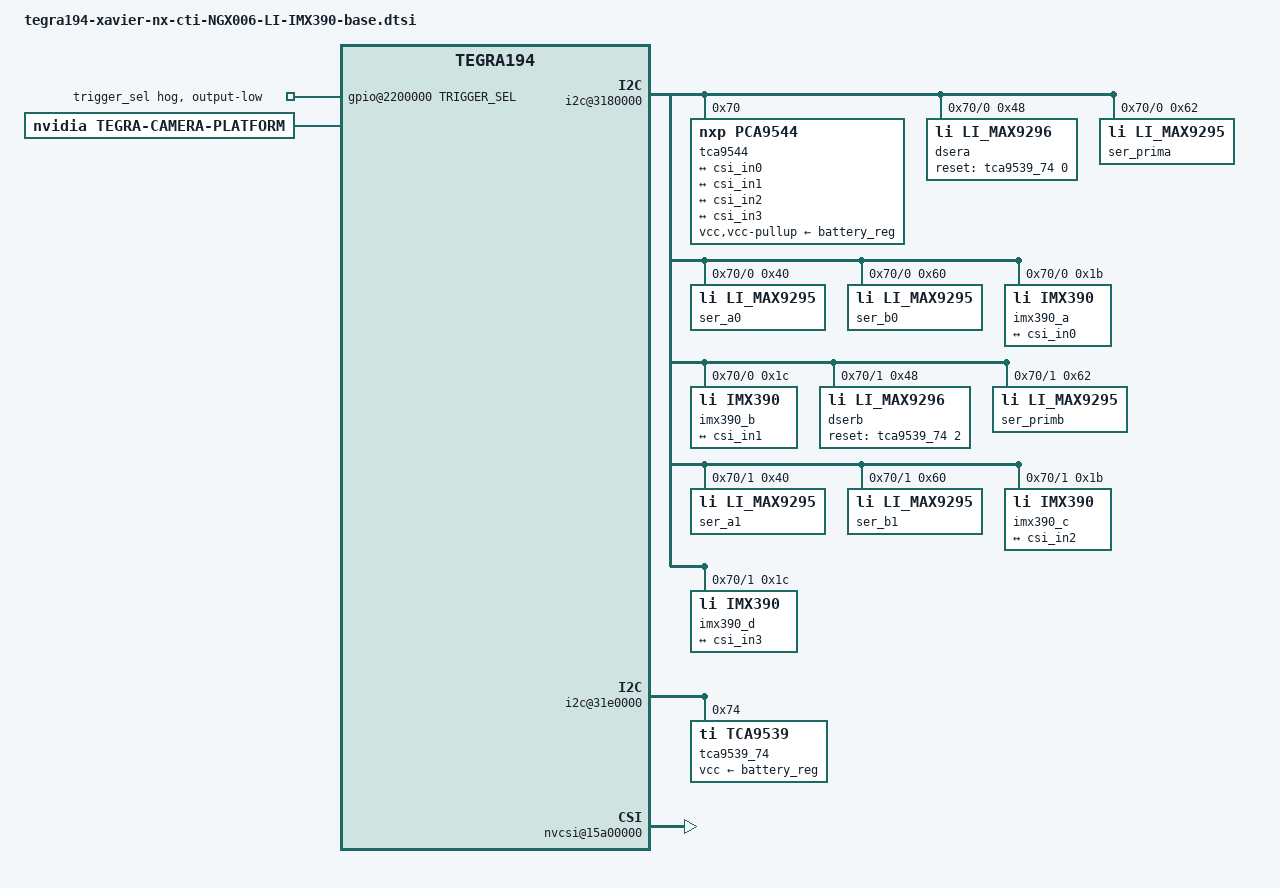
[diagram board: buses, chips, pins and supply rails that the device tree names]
/*
 * Copyright (c) 2023, Connect Tech Inc.  All rights reserved.
 *
 * This program is free software; you can redistribute it and/or modify it
 * under the terms and conditions of the GNU General Public License,
 * version 2, as published by the Free Software Foundation.
 *
 * This program is distributed in the hope it will be useful, but WITHOUT
 * ANY WARRANTY; without even the implied warranty of MERCHANTABILITY or
 * FITNESS FOR A PARTICULAR PURPOSE.  See the GNU General Public License for
 * more details.
 *
 * You should have received a copy of the GNU General Public License
 * along with this program.  If not, see <http://www.gnu.org/licenses/>.
 */

#include "dt-bindings/clock/tegra194-clock.h"

#define TRIGGER_SEL TEGRA194_MAIN_GPIO(R,0) //CAM0_RST
#define CAM_LANES 4
#define CAM_LANES_STRING "4" 
#define SERDES_PIX_CLK_HZ "480000000" 
//"590000000"

                                        
#define IMX390_MODE0 \
		mclk_khz = "24000"; \
		discontinuous_clk = "no"; \
		dpcm_enable = "false"; \
		cil_settletime = "0"; \
		dynamic_pixel_bit_depth = "12"; \
		csi_pixel_bit_depth = "12"; \
		mode_type = "bayer"; \
		pixel_phase = "rggb"; \
		active_w = "1920"; \
		active_h = "1080"; \
		readout_orientation = "0"; \
		line_length = "2200"; \
		inherent_gain = "1"; \
		pix_clk_hz = "74250000"; \
		serdes_pix_clk_hz = SERDES_PIX_CLK_HZ; \
		gain_factor = "10"; \
		min_gain_val = "0";  \
		max_gain_val = "300"; \
		step_gain_val = "3"; \
		default_gain = "0"; \
		min_hdr_ratio = "1"; \
		max_hdr_ratio = "1"; \
		framerate_factor = "1000000"; \
		min_framerate = "30000000"; \
		max_framerate = "30000000"; \
		step_framerate = "1"; \
		default_framerate = "30000000"; \
		exposure_factor = "1000000"; \
		min_exp_time = "118"; \
		max_exp_time = "33333"; \
		step_exp_time = "1"; \
		default_exp_time = "33333"; \
		embedded_metadata_height = "0"; \


//serdes_pix_clk_hz = "299000000"; //orig val

/ {

	gpio@2200000 {
		
		camera-control-output-low {
			status = "okay";
			gpio-hog;
			gpios = <TRIGGER_SEL 0>;
			output-low;
			label = "trigger_sel";
		};
	};

	

    i2c@3180000 {
        status = "okay";
        #address-cells = <1>;
        #size-cells = <0>;
        tca9544@70 {
            status = "okay";
            compatible = "nxp,pca9544";
            reg = <0x70>;
            #address-cells = <1>;
            #size-cells = <0>;
            vcc-supply = <&battery_reg>;
            vcc-pullup-supply = <&battery_reg>;
            vcc_lp = "vcc";
            skip_mux_detect = "yes";
            force_bus_start = <40>;
            i2c@0 {
                status = "okay";
                reg = <0>;
                i2c-mux,deselect-on-exit;
                #address-cells = <1>;
                #size-cells = <0>;

                dsera: li_max9296@48 {
                    compatible = "li,li_max9296";
                    reg = <0x48>;
                    csi-mode = "2x4";
                    max-src = <2>;
                    status = "okay";
                    reset-gpios = <&tca9539_74 0 GPIO_ACTIVE_HIGH>;
                    //reset-gpios
                };
                ser_prima: li_max9295_prim@62 {
                    compatible = "li,li_max9295";
                    reg = <0x62>;
                    is-prim-ser;
                    status = "okay";
                };
                ser_a0: li_max9295_a@40 {
                    compatible = "li,li_max9295";
                    reg = <0x40>;
                    nvidia,gmsl-dser-device = <&dsera>;
                    status = "okay";
                };
                
                ser_b0: li_max9295_b@60 {
                    compatible = "li,li_max9295";
                    reg = <0x60>;
                    nvidia,gmsl-dser-device = <&dsera>;
                    status = "okay";
                };

                imx390_a@1b {
                    def-addr = <0x21>;
                    clocks = <&bpmp_clks TEGRA194_CLK_EXTPERIPH1>,<&bpmp_clks TEGRA194_CLK_PLLP_OUT0>;
                    clock-names = "extperiph1", "pllp_grtba";
                    mclk = "extperiph1";
                    nvidia,gmsl-ser-device = <&ser_a0>;
                    nvidia,gmsl-dser-device = <&dsera>;
                    compatible = "li,imx390";
                    reg = <0x1b>;
                    reg_mux = <0>;

                    physical_w = "15.0";
                    physical_h = "12.5";
                    sensor_model = "imx390";
                    post_crop_frame_drop = "0";
                    use_decibel_gain = "true";
                    use_sensor_mode_id = "true";

                    status = "okay";
                    
                    mode0 {
                        IMX390_MODE0
                        tegra_sinterface = "serial_c";
                        num_lanes = "4";
                        //mode_lanes = <4>;
                        vc_id = "1";
                    };

                    ports {
                        #address-cells = <1>;
                        #size-cells = <0>;
                        port@0{
                            reg = <0>;
                            cam_out0: endpoint {
                                vc-id = <1>;
                                port-index = <2>;
                                bus-width = <CAM_LANES>;
                                remote-endpoint = <&csi_in0>;

                            };
                        };
                    };
                    gmsl-link {
                        src-csi-port = "b";
                        dst-csi-port = "a";
                        serdes-csi-link = "a";
                        csi-mode = "1x4";
                        st-vc = <0>;
                        vc-id = <1>;
                        num-lanes = <CAM_LANES>;
                        streams = "ued-u1","raw12";

                    };
                };

                imx390_b@1c {
                    def-addr = <0x21>;
                    clocks = <&bpmp_clks TEGRA194_CLK_EXTPERIPH1>,<&bpmp_clks TEGRA194_CLK_PLLP_OUT0>;
                    clock-names = "extperiph1", "pllp_grtba";
                    mclk = "extperiph1";
                    compatible = "li,imx390";
                    nvidia,gmsl-ser-device = <&ser_b0>;
                    nvidia,gmsl-dser-device = <&dsera>;
                    reg = <0x1c>;
                    reg_mux = <0>;

                    physical_w = "15.0";
                    physical_h = "12.5";
                    sensor_model = "imx390";
                    post_crop_frame_drop = "0";
                    use_decibel_gain = "true";
                    use_sensor_mode_id = "true";

                    status = "okay";
                    mode0 {
                        IMX390_MODE0
                        tegra_sinterface = "serial_c";
                        num_lanes = "4";
                        //mode_lanes = <4>;
                        vc_id = "0";
                    };
                    ports {
                        #address-cells = <1>;
                        #size-cells = <0>;
                        port@0{
                            reg = <0>;
                            cam_out1: endpoint {
                                vc-id = <0>;
                                port-index = <2>;
                                bus-width = <CAM_LANES>;
                                remote-endpoint = <&csi_in1>;

                            };
                        };
                    };
                    gmsl-link {
                        src-csi-port = "b";
                        dst-csi-port = "a";
                        serdes-csi-link = "b";
                        csi-mode = "1x4";
                        st-vc = <0>;
                        vc-id = <0>;
                        num-lanes = <CAM_LANES>;
                        streams = "ued-u1","raw12";

                    };
                };	     
            };

            i2c@1 {
                status = "okay";
                reg = <1>;
                i2c-mux,deselect-on-exit;
                #address-cells = <1>;
                #size-cells = <0>;
                dserb: li_max9296@48 {
                    compatible = "li,li_max9296";
                    reg = <0x48>;
                    csi-mode = "2x4";
                    max-src = <2>;
                    status = "okay";
                    reset-gpios = <&tca9539_74 2 GPIO_ACTIVE_HIGH>;
                };
                ser_primb: li_max9295_prim@62 {
                    compatible = "li,li_max9295";
                    reg = <0x62>;
                    is-prim-ser;
                    status = "okay";
                };
                ser_a1: li_max9295_a@40 {
                    compatible = "li,li_max9295";
                    reg = <0x40>;
                    nvidia,gmsl-dser-device = <&dserb>;
                    status = "okay";
                };
                
                ser_b1: li_max9295_b@60 {
                    compatible = "li,li_max9295";
                    reg = <0x60>;
                    nvidia,gmsl-dser-device = <&dserb>;
                    status = "okay";
                };

                imx390_c@1b {
                    def-addr = <0x21>;
                    clocks = <&bpmp_clks TEGRA194_CLK_EXTPERIPH1>,<&bpmp_clks TEGRA194_CLK_PLLP_OUT0>;
                    clock-names = "extperiph1", "pllp_grtba";
                    mclk = "extperiph1";
                    nvidia,gmsl-ser-device = <&ser_a1>;
                    nvidia,gmsl-dser-device = <&dserb>;
                    compatible = "li,imx390";
                    reg = <0x1b>;
                    reg_mux = <1>;

                    physical_w = "15.0";
                    physical_h = "12.5";
                    sensor_model = "imx390";
                    post_crop_frame_drop = "0";
                    use_decibel_gain = "true";
                    use_sensor_mode_id = "true";

                    status = "okay";
                    
                    mode0 {
                        IMX390_MODE0
                        tegra_sinterface = "serial_a";
                        num_lanes = "4";
                        //mode_lanes = <4>;
                        vc_id = "1";
                    };

                    ports {
                        #address-cells = <1>;
                        #size-cells = <0>;
                        port@0{
                            reg = <0>;
                            cam_out2: endpoint {
                                vc-id = <1>;
                                port-index = <0>;
                                bus-width = <CAM_LANES>;
                                remote-endpoint = <&csi_in2>;

                            };
                        };
                    };
                    gmsl-link {
                        src-csi-port = "b";
                        dst-csi-port = "a";
                        serdes-csi-link = "a";
                        csi-mode = "1x4";
                        st-vc = <0>;
                        vc-id = <1>;
                        num-lanes = <CAM_LANES>;
                        streams = "ued-u1","raw12";

                    };
                };

                imx390_d@1c {
                    def-addr = <0x21>;
                    clocks = <&bpmp_clks TEGRA194_CLK_EXTPERIPH1>,<&bpmp_clks TEGRA194_CLK_PLLP_OUT0>;
                    clock-names = "extperiph1", "pllp_grtba";
                    mclk = "extperiph1";
                    compatible = "li,imx390";
                    nvidia,gmsl-ser-device = <&ser_b1>;
                    nvidia,gmsl-dser-device = <&dserb>;
                    reg = <0x1c>;
                    reg_mux = <1>;

                    physical_w = "15.0";
                    physical_h = "12.5";
                    sensor_model = "imx390";
                    post_crop_frame_drop = "0";
                    use_decibel_gain = "true";
                    use_sensor_mode_id = "true";

                    status = "okay";
                    mode0 {
                        IMX390_MODE0
                        tegra_sinterface = "serial_a";
                        num_lanes = "4";
                        //mode_lanes = <4>;
                        vc_id = "0";
                    };
                    ports {
                        #address-cells = <1>;
                        #size-cells = <0>;
                        port@0{
                            reg = <0>;
                            cam_out3: endpoint {
                                vc-id = <0>;
                                port-index = <0>;
                                bus-width = <CAM_LANES>;
                                remote-endpoint = <&csi_in3>;

                            };
                        };
                    };
                    gmsl-link {
                        src-csi-port = "b";
                        dst-csi-port = "a";
                        serdes-csi-link = "b";
                        csi-mode = "1x4";
                        st-vc = <0>;
                        vc-id = <0>;
                        num-lanes = <CAM_LANES>;
                        streams = "ued-u1","raw12";

                    };
                };
            
            };
        };
    };

    i2c@31e0000 {
		status = "okay";
		#address-cells = <1>;
		#size-cells = <0>;
		tca9539_74: gpio@74{
			compatible = "ti,tca9539";
			gpio-controller;
			#gpio-cells = <2>;
			ngpios = <16>;
			reg = <0x74>;
			vcc-supply = <&battery_reg>;
			status = "okay";
			
			tca9539_74_outlow {
				status = "okay";
				gpio-hog;
				gpios = <0 0 1 0 2 0 3 0 4 0 5 0 6 0 7 0 8 0 9 0 10 0 11 0 12 0 13 0>;
				output-low;
				label = "RST_A","PWDN_A","RST_B","PWDN_B","RST_C","PWDN_C","RST_D","PWDN_D";
			};
			tca9539_74_outhigh {
				status = "disabled";
			};
			tca9539_74_input {
				status = "disabled";
			};
		};
	};
    tegra-capture-vi {
        status = "okay";
        num-channels = <4>;
        ports {
            #address-cells = <1>;
            #size-cells = <0>;
            status = "okay";
            port@0 {
                reg = <0>;
                status = "okay";
                vi_in0: endpoint {
                    vc-id = <1>;
                    port-index = <2>;
                    status = "okay";
                    bus-width = <CAM_LANES>;
                    remote-endpoint = <&csi_out0>;
                };
            };
            port@1 {
                status = "okay";
                reg = <1>;
                vi_in1: endpoint {
                    vc-id = <0>;
                    port-index = <2>;
                    status = "okay";
                    bus-width = <CAM_LANES>;
                    remote-endpoint = <&csi_out1>;
                };
            };
            port@2 {
                status = "okay";
                reg = <2>;
                vi_in2: endpoint {
                    vc-id = <1>;
                    port-index = <0>;
                    bus-width = <CAM_LANES>;
                    remote-endpoint = <&csi_out2>;
                    status = "okay";
                };
            };
            port@3{
                status = "okay";
                reg = <3>;
                vi_in3: endpoint {
                    vc-id = <0>;
                    port-index = <0>;
                    bus-width = <CAM_LANES>;
                    remote-endpoint = <&csi_out3>;
                    status = "okay";
                };
            };
	    
        };
    };

    host1x@13e00000 {
        nvcsi@15a00000 {
            num-channels = <4>;
            #address-cells = <1>;
            #size-cells = <0>;
            status = "okay";
            channel@0 {
                status = "okay";
                reg = <0>;
                ports {
                    #address-cells = <1>;
                    #size-cells = <0>;
                    port@0 {
                        status = "okay";
                        reg = <0>;
                        csi_in0: endpoint@0 {
                            status = "okay";
                            port-index = <2>;
                            vc-id = <1>;
                            bus-width = <CAM_LANES>;
                            remote-endpoint = <&cam_out0>;
                        };
                    };
                    port@1 {
                        status = "okay";
                        reg = <1>;
                        csi_out0: endpoint@1 {
                            status = "okay";
                            port-index = <2>;
                            vc-id = <0>;
                            bus-width = <CAM_LANES>;
                            remote-endpoint = <&vi_in0>;
                        };
                    };
                };
            };
            channel@1 {
                status = "okay";
                reg = <1>;
                ports {
                    #address-cells = <1>;
                    #size-cells = <0>;  
                    port@0 {
                        reg = <0>;
                        status = "okay";
                        csi_in1: endpoint@2 {
                            status = "okay";
                            port-index = <2>;
                            vc-id = <1>;
                            bus-width = <CAM_LANES>;
                            remote-endpoint = <&cam_out1>;
                        };
                    };
                    port@1 {
                        status = "okay";
                        reg = <1>;
                        csi_out1: endpoint@3 {
                            status = "okay";
                            port-index = <2>;
                            vc-id = <0>;
                            bus-width = <CAM_LANES>;
                            remote-endpoint = <&vi_in1>;
                        };
                    };
                };
            };
            channel@2 {
                status = "okay";
                reg = <2>;
                ports {
                    #address-cells = <1>;
                    #size-cells = <0>;
                    port@0 {
                        status = "okay";
                        reg = <0>;
                        csi_in2: endpoint@4 {
                            status = "okay";
                            port-index = <0>;
                            bus-width = <CAM_LANES>;
                            remote-endpoint = <&cam_out2>;
                        };
                    };
                    port@1 {
                        status = "okay";
                        reg = <1>;
                        csi_out2: endpoint@5 {
                            status = "okay";
                            port-index = <0>;
                            bus-width = <CAM_LANES>;
                            remote-endpoint = <&vi_in2>;
                        };
                    };
                };
            };
            channel@3 {
                status = "okay";
                reg = <3>;
                ports {
                    #address-cells = <1>;
                    #size-cells = <0>;
                    port@0 {
                        reg = <0>;
                        status = "okay";
                        csi_in3: endpoint@6 {
                            status = "okay";
                            port-index = <0>;
                            bus-width = <CAM_LANES>;
                            remote-endpoint = <&cam_out3>;
                        };
                    };
                    port@1 {
                        status = "okay";
                        reg = <1>;
                        csi_out3: endpoint@7 {
                            status = "okay";
                            port-index = <0>;
                            bus-width = <CAM_LANES>;
                            remote-endpoint = <&vi_in3>;
                        };
                    };
                };
            };
        };
    };


    tegra-camera-platform {
        num_csi_lanes = <8>;
        max_lane_speed = <1500000>;
        min_bits_per_pixel = <10>;
        vi_peak_byte_per_pixel = <2>;
        vi_bw_margin_pct = <25>;
        //max_pixel_rate = <750000>;
        isp_peak_byte_per_pixel = <5>;
        isp_bw_margin_pct = <25>;
        compatible = "nvidia, tegra-camera-platform";
        status = "okay";
        
        modules {
            status = "okay";
            module0 {
                status = "okay";
                badge = "imx390_bottomleft";
                position = "bottomleft";
                orientation = "1";
                drivernode0 {
                    status = "okay";
                    pcl_id = "v4l2_sensor";
                    devname = "imx390 40-001b";
                    proc-device-tree = "/proc/device-tree/i2c@3180000/tca9544@70/i2c@0/imx390_a@1b";
                };
                
            };
            module1 {
                status = "okay";
                badge = "imx390_bottomright";
                position = "bottomright";
                orientation = "1";
                drivernode0 {
                    status = "okay";
                    pcl_id = "v4l2_sensor";
                    devname = "imx390 40-001c";
                    proc-device-tree = "/proc/device-tree/i2c@3180000/tca9544@70/i2c@0/imx390_b@1c";
                };
            };
            module2 {
                status = "okay";
                badge = "imx390_topleft";
                position = "topleft";
                orientation = "1";
                drivernode0 {
                    status = "okay";
                    pcl_id = "v4l2_sensor";
                    devname = "imx390 41-001b";
                    proc-device-tree = "/proc/device-tree/i2c@3180000/tca9544@70/i2c@1/imx390_c@1b";
                };
            };
            module3 {
                status = "okay";
                badge = "imx390_topright";
                position = "topright";
                orientation = "1";
                drivernode0 {
                    status = "okay";
                    pcl_id = "v4l2_sensor";
                    devname = "imx390 41-001c";
                    proc-device-tree = "/proc/device-tree/i2c@3180000/tca9544@70/i2c@1/imx390_d@1c";
                };
            };		
        };
    };
};
